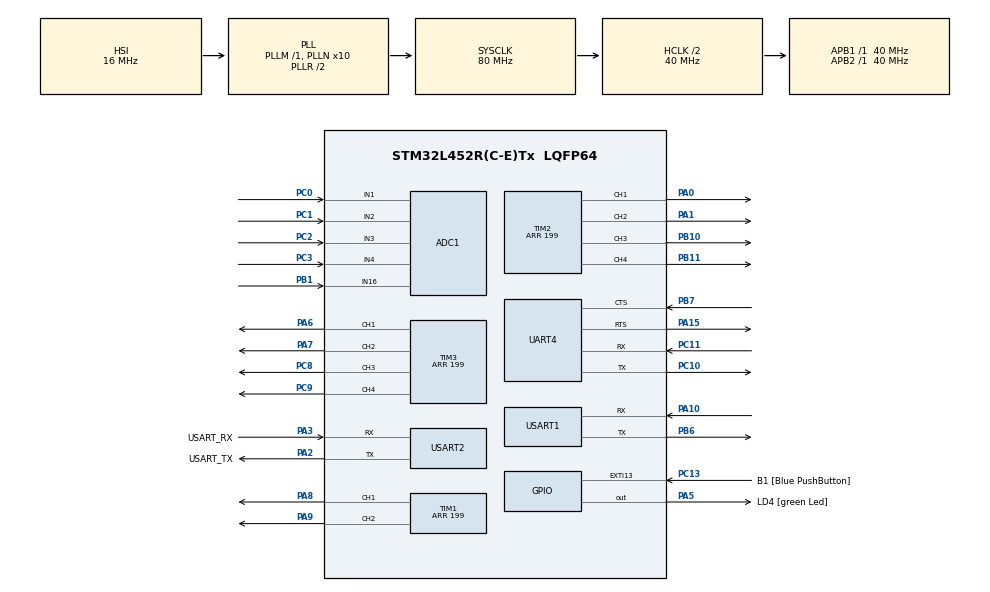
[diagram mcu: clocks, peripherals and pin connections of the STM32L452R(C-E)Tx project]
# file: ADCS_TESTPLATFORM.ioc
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ADC1.Channel-0\#ChannelRegularConversion=ADC_CHANNEL_1
ADC1.Channel-1\#ChannelRegularConversion=ADC_CHANNEL_1
ADC1.Channel-2\#ChannelRegularConversion=ADC_CHANNEL_1
ADC1.Channel-3\#ChannelRegularConversion=ADC_CHANNEL_1
ADC1.Channel-4\#ChannelRegularConversion=ADC_CHANNEL_1
ADC1.ClockPrescaler=ADC_CLOCK_ASYNC_DIV2
ADC1.ContinuousConvMode=ENABLE
ADC1.NbrOfConversion=5
ADC1.NbrOfConversionFlag=1
ADC1.OffsetNumber-0\#ChannelRegularConversion=ADC_OFFSET_NONE
ADC1.OffsetNumber-1\#ChannelRegularConversion=ADC_OFFSET_NONE
ADC1.OffsetNumber-2\#ChannelRegularConversion=ADC_OFFSET_NONE
ADC1.OffsetNumber-3\#ChannelRegularConversion=ADC_OFFSET_NONE
ADC1.OffsetNumber-4\#ChannelRegularConversion=ADC_OFFSET_NONE
ADC1.OversamplingMode=ENABLE
ADC1.Rank-0\#ChannelRegularConversion=1
ADC1.Rank-1\#ChannelRegularConversion=2
ADC1.Rank-2\#ChannelRegularConversion=3
ADC1.Rank-3\#ChannelRegularConversion=4
ADC1.Rank-4\#ChannelRegularConversion=5
ADC1.Ratio=ADC_OVERSAMPLING_RATIO_16
ADC1.RightBitShift=ADC_RIGHTBITSHIFT_4
ADC1.SamplingTime-0\#ChannelRegularConversion=ADC_SAMPLETIME_2CYCLES_5
ADC1.SamplingTime-1\#ChannelRegularConversion=ADC_SAMPLETIME_2CYCLES_5
ADC1.SamplingTime-2\#ChannelRegularConversion=ADC_SAMPLETIME_2CYCLES_5
ADC1.SamplingTime-3\#ChannelRegularConversion=ADC_SAMPLETIME_2CYCLES_5
ADC1.SamplingTime-4\#ChannelRegularConversion=ADC_SAMPLETIME_2CYCLES_5
ADC1.master=1
FREERTOS.BinarySemaphores01=IMURead_ControlMutex,Static,xIMURead_ControlMutexBuffer,Available
FREERTOS.Queues01=IMUQueue1,512,uint32_t,0,Static,IMUQueue1Buffer,IMUQueue1ControlBlock;IMUQueue2,512,uint32_t,0,Static,IMUQueue2Buffer,IMUQueue2ControlBlock;ADCSHouseKeepingQueue,512,uint32_t,0,Static,ADCSHouseKeepingQueueBuffer,ADCSHouseKeepingQueueControlBlock
FREERTOS.Tasks01=IMUTask,0,4096,IMU_Task,Default,NULL,Static,IMUTaskBuffer,IMUTaskControlBlock;OBC_CommTask,1,16384,OBC_Comm_Task,Default,NULL,Static,OBC_CommTaskBuffer,OBC_CommTaskControlBlock;ControlAlgorithmTask,0,4096,Control_Algorithm_Task,Default,NULL,Static,ControlAlgorithmTaskBuffer,ControlAlgorithmTaskControlBlock;FirstCheckTask,1,4096,Check_current_temp,Default,NULL,Static,FirstCheckTaskBuffer,FirstCheckTaskControlBlock
FREERTOS.configMAX_TASK_NAME_LEN=30
FREERTOS.configUSE_NEWLIB_REENTRANT=1
Mcu.Family=STM32L4
Mcu.Name=STM32L452R(C-E)Tx
Mcu.Package=LQFP64
NVIC.PriorityGroup=NVIC_PRIORITYGROUP_4
NVIC.TIM1_UP_TIM16_IRQn=true\:15\:0\:false\:false\:true\:false\:false\:true\:true
NVIC.TimeBase=TIM1_UP_TIM16_IRQn
NVIC.TimeBaseIP=TIM16
PA0.Signal=S_TIM2_CH1
PA1.Signal=S_TIM2_CH2
PA10.Mode=Asynchronous
PA10.Signal=USART1_RX
PA13\ (JTMS/SWDIO).GPIO_Label=TMS
PA13\ (JTMS/SWDIO).Mode=Serial_Wire
PA13\ (JTMS/SWDIO).Signal=SYS_JTMS-SWDIO
PA14\ (JTCK/SWCLK).GPIO_Label=TCK
PA14\ (JTCK/SWCLK).Mode=Serial_Wire
PA14\ (JTCK/SWCLK).Signal=SYS_JTCK-SWCLK
PA15\ (JTDI).Mode=CTS_RTS
PA15\ (JTDI).Signal=UART4_RTS
PA2.GPIO_Label=USART_TX
PA2.GPIO_Mode=GPIO_MODE_AF_PP
PA2.GPIO_PuPd=GPIO_NOPULL
PA2.GPIO_Speed=GPIO_SPEED_FREQ_VERY_HIGH
PA2.Mode=Asynchronous
PA2.Signal=USART2_TX
PA3.GPIO_Label=USART_RX
PA3.GPIO_Mode=GPIO_MODE_AF_PP
PA3.GPIO_PuPd=GPIO_NOPULL
PA3.GPIO_Speed=GPIO_SPEED_FREQ_VERY_HIGH
PA3.Mode=Asynchronous
PA3.Signal=USART2_RX
PA5.GPIO_Label=LD4 [green Led]
PA5.GPIO_ModeDefaultOutputPP=GPIO_MODE_OUTPUT_PP
PA5.GPIO_PuPd=GPIO_NOPULL
PA5.GPIO_Speed=GPIO_SPEED_FREQ_LOW
PA5.Signal=GPIO_Output
PA6.Signal=S_TIM3_CH1
PA7.Signal=S_TIM3_CH2
PA8.Signal=S_TIM1_CH1
PA9.Signal=S_TIM1_CH2
PB1.Signal=ADCx_IN16
PB10.Signal=S_TIM2_CH3
PB11.Signal=S_TIM2_CH4
PB3\ (JTDO/TRACESWO).GPIO_Label=SWO
PB3\ (JTDO/TRACESWO).Signal=SYS_JTDO-SWO
PB6.Mode=Asynchronous
PB6.Signal=USART1_TX
PB7.Mode=CTS_RTS
PB7.Signal=UART4_CTS
PC0.Signal=ADCx_IN1
PC1.Signal=ADCx_IN2
PC10.Mode=Asynchronous
PC10.Signal=UART4_TX
PC11.Mode=Asynchronous
PC11.Signal=UART4_RX
PC13.GPIO_Label=B1 [Blue PushButton]
PC13.GPIO_ModeDefaultEXTI=GPIO_MODE_IT_FALLING
PC13.GPIO_PuPd=GPIO_NOPULL
PC13.Signal=GPXTI13
PC14-OSC32_IN\ (PC14).Mode=LSE-External-Oscillator
PC14-OSC32_IN\ (PC14).Signal=RCC_OSC32_IN
PC15-OSC32_OUT\ (PC15).Mode=LSE-External-Oscillator
PC15-OSC32_OUT\ (PC15).Signal=RCC_OSC32_OUT
PC2.Signal=ADCx_IN3
PC3.Signal=ADCx_IN4
PC8.Signal=S_TIM3_CH3
PC9.Signal=S_TIM3_CH4
PH0-OSC_IN\ (PH0).Mode=HSE-External-Oscillator
PH0-OSC_IN\ (PH0).Signal=RCC_OSC_IN
PH1-OSC_OUT\ (PH1).Mode=HSE-External-Oscillator
PH1-OSC_OUT\ (PH1).Signal=RCC_OSC_OUT
ProjectManager.HeapSize=0x200
ProjectManager.StackSize=0x400
ProjectManager.TargetToolchain=STM32CubeIDE
RCC.ADCFreq_Value=64000000
RCC.AHBCLKDivider=RCC_SYSCLK_DIV2
RCC.AHBFreq_Value=40000000
RCC.APB1Freq_Value=40000000
RCC.APB1TimFreq_Value=40000000
RCC.APB2Freq_Value=40000000
RCC.APB2TimFreq_Value=40000000
RCC.CortexFreq_Value=40000000
RCC.HCLKFreq_Value=40000000
RCC.HSE_VALUE=8000000
RCC.HSI48_VALUE=48000000
RCC.HSI_VALUE=16000000
RCC.MSI_VALUE=4000000
RCC.PLLN=10
RCC.PLLSourceVirtual=RCC_PLLSOURCE_HSI
RCC.PREFETCH_ENABLE=1
RCC.SYSCLKFreq_VALUE=80000000
RCC.SYSCLKSource=RCC_SYSCLKSOURCE_PLLCLK
RCC.USBFreq_Value=64000000
RCC.VCOOutputFreq_Value=160000000
SH.ADCx_IN1.0=ADC1_IN1,IN1-Single-Ended
SH.ADCx_IN16.0=ADC1_IN16,IN16-Single-Ended
SH.ADCx_IN2.0=ADC1_IN2,IN2-Single-Ended
SH.ADCx_IN3.0=ADC1_IN3,IN3-Single-Ended
SH.ADCx_IN4.0=ADC1_IN4,IN4-Single-Ended
SH.S_TIM1_CH1.0=TIM1_CH1,PWM Generation1 CH1
SH.S_TIM1_CH2.0=TIM1_CH2,PWM Generation2 CH2
SH.S_TIM2_CH1.0=TIM2_CH1,PWM Generation1 CH1
SH.S_TIM2_CH2.0=TIM2_CH2,PWM Generation2 CH2
SH.S_TIM2_CH3.0=TIM2_CH3,PWM Generation3 CH3
SH.S_TIM2_CH4.0=TIM2_CH4,PWM Generation4 CH4
SH.S_TIM3_CH1.0=TIM3_CH1,PWM Generation1 CH1
SH.S_TIM3_CH2.0=TIM3_CH2,PWM Generation2 CH2
SH.S_TIM3_CH3.0=TIM3_CH3,PWM Generation3 CH3
SH.S_TIM3_CH4.0=TIM3_CH4,PWM Generation4 CH4
TIM1.Channel-PWM\ Generation1\ CH1=TIM_CHANNEL_1
TIM1.Channel-PWM\ Generation2\ CH2=TIM_CHANNEL_2
TIM1.Period=199
TIM2.Channel-PWM\ Generation1\ CH1=TIM_CHANNEL_1
TIM2.Channel-PWM\ Generation2\ CH2=TIM_CHANNEL_2
TIM2.Channel-PWM\ Generation3\ CH3=TIM_CHANNEL_3
TIM2.Channel-PWM\ Generation4\ CH4=TIM_CHANNEL_4
TIM2.Period=199
TIM3.Channel-PWM\ Generation1\ CH1=TIM_CHANNEL_1
TIM3.Channel-PWM\ Generation2\ CH2=TIM_CHANNEL_2
TIM3.Channel-PWM\ Generation3\ CH3=TIM_CHANNEL_3
TIM3.Channel-PWM\ Generation4\ CH4=TIM_CHANNEL_4
TIM3.Period=199
USART1.VirtualMode-Asynchronous=VM_ASYNC
USART2.VirtualMode-Asynchronous=VM_ASYNC
VP_FREERTOS_VS_CMSIS_V1.Mode=CMSIS_V1
VP_SYS_VS_tim16.Mode=TIM16
VP_TIM1_VS_ClockSourceINT.Mode=Internal
VP_TIM2_VS_ClockSourceINT.Mode=Internal
VP_TIM3_VS_ClockSourceINT.Mode=Internal
board=NUCLEO-L452RE

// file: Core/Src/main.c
/**
  ******************************************************************************
  * @file           : main.c
  * @brief          : AOCS Main Program Body
  ******************************************************************************
  * @attention
  *
  * Copyright (c) 2025 STMicroelectronics.
  * All rights reserved.
  *
  * This software is licensed under terms that can be found in the LICENSE file
  * in the root directory of this software component.
  * If no LICENSE file comes with this software, it is provided AS-IS.
  *
  ******************************************************************************
  */
/* USER CODE END Header */
#include "main.h"
#include "cmsis_os.h"

/* USER CODE BEGIN Includes */
#include "string.h"
#include "stdio.h"
#include "UARTdriver.h"               //setting on uart.c is added to hal_msp.c file
#include <math.h>
#include <stdbool.h>
#include "MTi1.h"
#include "messages.h"
#include "queue_structs.h"
#include "constants.h"
#include "simpleDataLink.h"
#include "pid_conversions.h"
#include "magnetorquers_driver.h"
#include "bdot.h"
/* USER CODE END Includes */

/* USER CODE BEGIN PTD */
PID_Inputs_struct PID_Inputs;
Actuator_struct Reaction1;
Actuator_struct Reaction2;
Actuator_struct MagneTorquer1;
Actuator_struct MagneTorquer2;
Actuator_struct MagneTorquer3;
uint8_t error_status = 0;
uint8_t Channels_mask[NUM_DRIVERS] = {1,1,1,1,1};       // TODO update to just 3 magnetorquers
/* USER CODE END PTD */

ADC_HandleTypeDef hadc1;

TIM_HandleTypeDef htim1;
TIM_HandleTypeDef htim2;
TIM_HandleTypeDef htim3;

UART_HandleTypeDef huart4;
UART_HandleTypeDef huart1;
UART_HandleTypeDef huart2;

/* TODO not used? */
// osThreadId IMUTaskHandle;
// uint32_t IMUTaskBuffer[ 4096 ];
// osStaticThreadDef_t IMUTaskControlBlock;
// osThreadId OBC_CommTaskHandle;
// uint32_t OBC_CommTaskBuffer[ 16384 ];
// osStaticThreadDef_t OBC_CommTaskControlBlock;
// osThreadId ControlAlgorithmTaskHandle;
// uint32_t ControlAlgorithmTaskBuffer[ 4096 ];
// osStaticThreadDef_t ControlAlgorithmTaskControlBlock;
// osThreadId FirstCheckTaskHandle;
// uint32_t FirstCheckTaskBuffer[ 4096 ];
// osStaticThreadDef_t FirstCheckTaskControlBlock;
// osMessageQId IMUQueue1Handle;
// uint8_t IMUQueue1Buffer[ 512 * sizeof( uint32_t ) ];
// osStaticMessageQDef_t IMUQueue1ControlBlock;
// osMessageQId IMUQueue2Handle;
// uint8_t IMUQueue2Buffer[ 512 * sizeof( uint32_t ) ];
// osStaticMessageQDef_t IMUQueue2ControlBlock;
// osMessageQId ADCSHouseKeepingQueueHandle;
// uint8_t ADCSHouseKeepingQueueBuffer[ 512 * sizeof( uint32_t ) ];
// osStaticMessageQDef_t ADCSHouseKeepingQueueControlBlock;
// osSemaphoreId IMURead_ControlMutexHandle;
// osStaticSemaphoreDef_t xIMURead_ControlMutexBuffer;
/* USER CODE BEGIN PV */

/* Defining Tasks related variables */
osThreadId IMUTaskHandle;
uint32_t IMUTaskBuffer[ stack_size];                    // 4096
osStaticThreadDef_t IMUTaskControlBlock;

osThreadId OBC_CommTaskHandle;
uint32_t OBC_CommTaskBuffer[ stack_size1 ];             // 16384
osStaticThreadDef_t OBC_CommTaskControlBlock;

osThreadId ControlAlgorithmTaskHandle;
uint32_t ControlAlgorithmTaskBuffer[ stack_size ];      // 4096
osStaticThreadDef_t ControlAlgorithmTaskControlBlock;

osThreadId FirstCheckTaskHandle;
uint32_t FirstCheckTaskBuffer[ stack_size ];            // 4096
osStaticThreadDef_t FirstCheckTaskControlBlock;

xSemaphoreHandle IMURead_ControlMutex;
StaticSemaphore_t xIMURead_ControlMutexBuffer;

osMessageQId ADCSHouseKeepingQueueHandle;
uint8_t ADCSHouseKeepingQueueBuffer[ 256 * sizeof( float ) ];
osStaticMessageQDef_t ADCSHouseKeepingQueueControlBlock;

osMessageQId IMUQueue2Handle;
uint8_t IMUQueue2Buffer[ 256 * sizeof( imu_queue_struct ) ];
osStaticMessageQDef_t IMUQueue2ControlBlock;

osMessageQId IMUQueue1Handle;
uint8_t IMUQueue1Buffer[ 256 * sizeof( imu_queue_struct ) ];
osStaticMessageQDef_t IMUQueue1ControlBlock;
/* USER CODE END PV */

void SystemClock_Config(void);
static void MX_GPIO_Init(void);
static void MX_USART2_UART_Init(void);
static void MX_UART4_Init(void);
static void MX_USART1_UART_Init(void);
static void MX_TIM1_Init(void);
static void MX_TIM2_Init(void);
static void MX_TIM3_Init(void);
static void MX_ADC1_Init(void);

/* Readings from IMU */
void IMU_Task(void const * argument);

/* Communication with OBC - by now simulated with py program */
void OBC_Comm_Task(void const * argument);

/* Attitude control logic */
void Control_Algorithm_Task(void const * argument);

/* Current & Temperature monitors  */
void Check_current_temp(void const * argument);

/* USER CODE BEGIN PFP */

//defining putch to enable printf for debugging
#ifdef __GNUC__
#define PUTCHAR_PROTOTYPE int __io_putchar(int ch)
#else
#define PUTCHAR_PROTOTYPE int fputc(int ch, FILE *f)
#endif

// PUTCHAR_PROTOTYPE{
//   HAL_UART_Transmit(&huart2, (uint8_t *)&ch, 1, HAL_MAX_DELAY);
//   return ch;
// }
PUTCHAR_PROTOTYPE{
	uint8_t c=(uint8_t)ch;
	sendDriver_UART(&huart2,&c,1);
	return c;
}

// TODO redefined?
void IMU_Task(void const * argument);
void OBC_Comm_Task(void const * argument);

//defining serial line I/O functions
//using UART driver
uint8_t txFunc1(uint8_t byte){
	return (sendDriver_UART(&huart1, &byte, 1)!=0);
}
uint8_t rxFunc1(uint8_t* byte){
	return (receiveDriver_UART(&huart1, byte, 1)!=0);
}

//defining tick function for timeouts
uint32_t sdlTimeTick(){
	return HAL_GetTick();
}

/* USER CODE END PFP */

int main(void)
{

  /* MCU Configuration--------------------------------------------------------*/

  /* Reset of all peripherals, Initializes the Flash interface and the Systick. */
  HAL_Init();

  /* Configure the system clock */
  SystemClock_Config();

  /* Initialize all configured peripherals */
  MX_GPIO_Init();
  MX_USART2_UART_Init();
  MX_UART4_Init();
  MX_USART1_UART_Init();
  MX_TIM1_Init();
  MX_TIM2_Init();
  MX_TIM3_Init();
  MX_ADC1_Init();
  /* USER CODE BEGIN 2 */

  initDriver_UART();
  // uint8_t status = addDriver_UART(&huart2, UART4_IRQn, keep_new);
  // if (status != 0) {
  //   char err[64];
  //   int len = snprintf(err, sizeof(err), "addDriver_UART failed: %d\r\n", status);
  //   HAL_UART_Transmit(&huart2, (uint8_t*)err, len, 100);
  // }

  /* USER CODE END 2 */

  /* USER CODE BEGIN RTOS_MUTEX */
  /* add mutexes, ... */
  IMURead_ControlMutex = xSemaphoreCreateMutexStatic(&xIMURead_ControlMutexBuffer);
	configASSERT(IMURead_ControlMutex);
	xSemaphoreGive(IMURead_ControlMutex);
  /* USER CODE END RTOS_MUTEX */

  /* Create the semaphores(s) */
  // /* definition and creation of IMURead_ControlMutex */
  // osSemaphoreStaticDef(IMURead_ControlMutex, &xIMURead_ControlMutexBuffer);
  // IMURead_ControlMutexHandle = osSemaphoreCreate(osSemaphore(IMURead_ControlMutex), 1);

  // /* Create the queue(s) */
  // /* definition and creation of IMUQueue1 */
  // osMessageQStaticDef(IMUQueue1, 512, uint32_t, IMUQueue1Buffer, &IMUQueue1ControlBlock);
  // IMUQueue1Handle = osMessageCreate(osMessageQ(IMUQueue1), NULL);

  // /* definition and creation of IMUQueue2 */
  // osMessageQStaticDef(IMUQueue2, 512, uint32_t, IMUQueue2Buffer, &IMUQueue2ControlBlock);
  // IMUQueue2Handle = osMessageCreate(osMessageQ(IMUQueue2), NULL);

  // /* definition and creation of ADCSHouseKeepingQueue */
  // osMessageQStaticDef(ADCSHouseKeepingQueue, 512, uint32_t, ADCSHouseKeepingQueueBuffer, &ADCSHouseKeepingQueueControlBlock);
  // ADCSHouseKeepingQueueHandle = osMessageCreate(osMessageQ(ADCSHouseKeepingQueue), NULL);

  /* USER CODE BEGIN RTOS_QUEUES */
  /* add queues, ... */
  /* definition and creation of IMUQueue1 */
	osMessageQStaticDef(IMUQueue1, 512, uint32_t,IMUQueue1Buffer, &IMUQueue1ControlBlock);
	IMUQueue1Handle = osMessageCreate(osMessageQ(IMUQueue1), NULL);
  /* definition and creation of IMUQueue2 */
	osMessageQStaticDef(IMUQueue2, 512, uint32_t, IMUQueue2Buffer, &IMUQueue2ControlBlock);
	IMUQueue2Handle = osMessageCreate(osMessageQ(IMUQueue2), NULL);
  /* definition and creation of ADCSHouseKeepingQueue */
	osMessageQStaticDef(ADCSHouseKeepingQueue, 512, uint32_t, ADCSHouseKeepingQueueBuffer, &ADCSHouseKeepingQueueControlBlock);
	ADCSHouseKeepingQueueHandle = osMessageCreate(osMessageQ(ADCSHouseKeepingQueue), NULL);
  /* definition and creation of FirstCheckTask */
  osThreadStaticDef(FirstCheckTask, Check_current_temp, osPriorityAboveNormal, 0, stack_size, FirstCheckTaskBuffer, &FirstCheckTaskControlBlock);
  FirstCheckTaskHandle = osThreadCreate(osThread(FirstCheckTask), NULL);
  /* definition and creation of IMUTask */
  osThreadStaticDef(IMUTask, IMU_Task, osPriorityNormal, 0,stack_size, IMUTaskBuffer, &IMUTaskControlBlock);
  IMUTaskHandle = osThreadCreate(osThread(IMUTask), NULL);
  /* definition and creation of OBC_CommTask */
  osThreadStaticDef(OBC_CommTask, OBC_Comm_Task, osPriorityAboveNormal, 0,stack_size1, OBC_CommTaskBuffer, &OBC_CommTaskControlBlock);
  OBC_CommTaskHandle = osThreadCreate(osThread(OBC_CommTask), NULL);
  /* definition and creation of ControlAlgorithmTask */
  osThreadStaticDef(ControlAlgorithmTask, Control_Algorithm_Task, osPriorityNormal, 0,stack_size, ControlAlgorithmTaskBuffer, &ControlAlgorithmTaskControlBlock);
	ControlAlgorithmTaskHandle = osThreadCreate(osThread(ControlAlgorithmTask), NULL);
  /* USER CODE END RTOS_QUEUES */

  /* Create the thread(s) */
  /* definition and creation of IMUTask */
  // osThreadStaticDef(IMUTask, IMU_Task, osPriorityNormal, 0, 4096, IMUTaskBuffer, &IMUTaskControlBlock);
  // IMUTaskHandle = osThreadCreate(osThread(IMUTask), NULL);

  // /* definition and creation of OBC_CommTask */
  // osThreadStaticDef(OBC_CommTask, OBC_Comm_Task, osPriorityAboveNormal, 0, 16384, OBC_CommTaskBuffer, &OBC_CommTaskControlBlock);
  // OBC_CommTaskHandle = osThreadCreate(osThread(OBC_CommTask), NULL);

  // /* definition and creation of ControlAlgorithmTask */
  // osThreadStaticDef(ControlAlgorithmTask, Control_Algorithm_Task, osPriorityNormal, 0, 4096, ControlAlgorithmTaskBuffer, &ControlAlgorithmTaskControlBlock);
  // ControlAlgorithmTaskHandle = osThreadCreate(osThread(ControlAlgorithmTask), NULL);

  // /* definition and creation of FirstCheckTask */
  // osThreadStaticDef(FirstCheckTask, Check_current_temp, osPriorityAboveNormal, 0, 4096, FirstCheckTaskBuffer, &FirstCheckTaskControlBlock);
  // FirstCheckTaskHandle = osThreadCreate(osThread(FirstCheckTask), NULL);

  /* Start scheduler */
  osKernelStart();

  /* We should never get here as control is now taken by the scheduler */

  /* Infinite loop */
  while (1)
  {

  }
}

void SystemClock_Config(void)
{
  RCC_OscInitTypeDef RCC_OscInitStruct = {0};
  RCC_ClkInitTypeDef RCC_ClkInitStruct = {0};

  /** Configure the main internal regulator output voltage
  */
  if (HAL_PWREx_ControlVoltageScaling(PWR_REGULATOR_VOLTAGE_SCALE1) != HAL_OK)
  {
    Error_Handler();
  }

  /** Initializes the RCC Oscillators according to the specified parameters
  * in the RCC_OscInitTypeDef structure.
  */
  RCC_OscInitStruct.OscillatorType = RCC_OSCILLATORTYPE_HSI;
  RCC_OscInitStruct.HSIState = RCC_HSI_ON;
  RCC_OscInitStruct.HSICalibrationValue = 64;
  RCC_OscInitStruct.PLL.PLLState = RCC_PLL_ON;
  RCC_OscInitStruct.PLL.PLLSource = RCC_PLLSOURCE_HSI;
  RCC_OscInitStruct.PLL.PLLM = 1;
  RCC_OscInitStruct.PLL.PLLN = 10;
  RCC_OscInitStruct.PLL.PLLP = RCC_PLLP_DIV7;
  RCC_OscInitStruct.PLL.PLLQ = RCC_PLLQ_DIV2;
  RCC_OscInitStruct.PLL.PLLR = RCC_PLLR_DIV2;
  if (HAL_RCC_OscConfig(&RCC_OscInitStruct) != HAL_OK)
  {
    Error_Handler();
  }

  /** Initializes the CPU, AHB and APB buses clocks
  */
  RCC_ClkInitStruct.ClockType = RCC_CLOCKTYPE_HCLK|RCC_CLOCKTYPE_SYSCLK
                              |RCC_CLOCKTYPE_PCLK1|RCC_CLOCKTYPE_PCLK2;
  RCC_ClkInitStruct.SYSCLKSource = RCC_SYSCLKSOURCE_PLLCLK;
  RCC_ClkInitStruct.AHBCLKDivider = RCC_SYSCLK_DIV2;
  RCC_ClkInitStruct.APB1CLKDivider = RCC_HCLK_DIV1;
  RCC_ClkInitStruct.APB2CLKDivider = RCC_HCLK_DIV1;

  if (HAL_RCC_ClockConfig(&RCC_ClkInitStruct, FLASH_LATENCY_2) != HAL_OK)
  {
    Error_Handler();
  }
}

static void MX_ADC1_Init(void)
{

  ADC_ChannelConfTypeDef sConfig = {0};

  /** Common config
  */
  hadc1.Instance = ADC1;
  hadc1.Init.ClockPrescaler = ADC_CLOCK_ASYNC_DIV2;
  hadc1.Init.Resolution = ADC_RESOLUTION_12B;
  hadc1.Init.DataAlign = ADC_DATAALIGN_RIGHT;
  hadc1.Init.ScanConvMode = ADC_SCAN_ENABLE;
  hadc1.Init.EOCSelection = ADC_EOC_SINGLE_CONV;
  hadc1.Init.LowPowerAutoWait = DISABLE;
  hadc1.Init.ContinuousConvMode = ENABLE;
  hadc1.Init.NbrOfConversion = 5;
  hadc1.Init.DiscontinuousConvMode = DISABLE;
  hadc1.Init.ExternalTrigConv = ADC_SOFTWARE_START;
  hadc1.Init.ExternalTrigConvEdge = ADC_EXTERNALTRIGCONVEDGE_NONE;
  hadc1.Init.DMAContinuousRequests = DISABLE;
  hadc1.Init.Overrun = ADC_OVR_DATA_PRESERVED;
  hadc1.Init.OversamplingMode = ENABLE;
  hadc1.Init.Oversampling.Ratio = ADC_OVERSAMPLING_RATIO_16;
  hadc1.Init.Oversampling.RightBitShift = ADC_RIGHTBITSHIFT_4;
  hadc1.Init.Oversampling.TriggeredMode = ADC_TRIGGEREDMODE_SINGLE_TRIGGER;
  hadc1.Init.Oversampling.OversamplingStopReset = ADC_REGOVERSAMPLING_CONTINUED_MODE;
  if (HAL_ADC_Init(&hadc1) != HAL_OK)
  {
    Error_Handler();
  }

  /** Configure Regular Channel
  */
  sConfig.Channel = ADC_CHANNEL_1;
  sConfig.Rank = ADC_REGULAR_RANK_1;
  sConfig.SamplingTime = ADC_SAMPLETIME_2CYCLES_5;
  sConfig.SingleDiff = ADC_SINGLE_ENDED;
  sConfig.OffsetNumber = ADC_OFFSET_NONE;
  sConfig.Offset = 0;
  if (HAL_ADC_ConfigChannel(&hadc1, &sConfig) != HAL_OK)
  {
    Error_Handler();
  }

  /** Configure Regular Channel
  */
  sConfig.Rank = ADC_REGULAR_RANK_2;
  if (HAL_ADC_ConfigChannel(&hadc1, &sConfig) != HAL_OK)
  {
    Error_Handler();
  }

  /** Configure Regular Channel
  */
  sConfig.Rank = ADC_REGULAR_RANK_3;
  if (HAL_ADC_ConfigChannel(&hadc1, &sConfig) != HAL_OK)
  {
    Error_Handler();
  }

  /** Configure Regular Channel
  */
  sConfig.Rank = ADC_REGULAR_RANK_4;
  if (HAL_ADC_ConfigChannel(&hadc1, &sConfig) != HAL_OK)
  {
    Error_Handler();
  }

  /** Configure Regular Channel
  */
  sConfig.Rank = ADC_REGULAR_RANK_5;
  if (HAL_ADC_ConfigChannel(&hadc1, &sConfig) != HAL_OK)
  {
    Error_Handler();
  }

}

/* Timers (TIM 1-3) initialization for magnetorquers actuation */

static void MX_TIM1_Init(void)
{

  TIM_ClockConfigTypeDef sClockSourceConfig = {0};
  TIM_MasterConfigTypeDef sMasterConfig = {0};
  TIM_OC_InitTypeDef sConfigOC = {0};
  TIM_BreakDeadTimeConfigTypeDef sBreakDeadTimeConfig = {0};

  htim1.Instance = TIM1;
  htim1.Init.Prescaler = 0;
  htim1.Init.CounterMode = TIM_COUNTERMODE_UP;
  htim1.Init.Period = 199;
  htim1.Init.ClockDivision = TIM_CLOCKDIVISION_DIV1;
  htim1.Init.RepetitionCounter = 0;
  htim1.Init.AutoReloadPreload = TIM_AUTORELOAD_PRELOAD_DISABLE;
  if (HAL_TIM_Base_Init(&htim1) != HAL_OK)
  {
    Error_Handler();
  }
  sClockSourceConfig.ClockSource = TIM_CLOCKSOURCE_INTERNAL;
  if (HAL_TIM_ConfigClockSource(&htim1, &sClockSourceConfig) != HAL_OK)
  {
    Error_Handler();
  }
  if (HAL_TIM_PWM_Init(&htim1) != HAL_OK)
  {
    Error_Handler();
  }
  sMasterConfig.MasterOutputTrigger = TIM_TRGO_RESET;
  sMasterConfig.MasterOutputTrigger2 = TIM_TRGO2_RESET;
  sMasterConfig.MasterSlaveMode = TIM_MASTERSLAVEMODE_DISABLE;
  if (HAL_TIMEx_MasterConfigSynchronization(&htim1, &sMasterConfig) != HAL_OK)
  {
    Error_Handler();
  }
  sConfigOC.OCMode = TIM_OCMODE_PWM1;
  sConfigOC.Pulse = 0;
  sConfigOC.OCPolarity = TIM_OCPOLARITY_HIGH;
  sConfigOC.OCNPolarity = TIM_OCNPOLARITY_HIGH;
  sConfigOC.OCFastMode = TIM_OCFAST_DISABLE;
  sConfigOC.OCIdleState = TIM_OCIDLESTATE_RESET;
  sConfigOC.OCNIdleState = TIM_OCNIDLESTATE_RESET;
  if (HAL_TIM_PWM_ConfigChannel(&htim1, &sConfigOC, TIM_CHANNEL_1) != HAL_OK)
  {
    Error_Handler();
  }
  if (HAL_TIM_PWM_ConfigChannel(&htim1, &sConfigOC, TIM_CHANNEL_2) != HAL_OK)
  {
    Error_Handler();
  }
  sBreakDeadTimeConfig.OffStateRunMode = TIM_OSSR_DISABLE;
  sBreakDeadTimeConfig.OffStateIDLEMode = TIM_OSSI_DISABLE;
  sBreakDeadTimeConfig.LockLevel = TIM_LOCKLEVEL_OFF;
  sBreakDeadTimeConfig.DeadTime = 0;
  sBreakDeadTimeConfig.BreakState = TIM_BREAK_DISABLE;
  sBreakDeadTimeConfig.BreakPolarity = TIM_BREAKPOLARITY_HIGH;
  sBreakDeadTimeConfig.BreakFilter = 0;
  sBreakDeadTimeConfig.Break2State = TIM_BREAK2_DISABLE;
  sBreakDeadTimeConfig.Break2Polarity = TIM_BREAK2POLARITY_HIGH;
  sBreakDeadTimeConfig.Break2Filter = 0;
  sBreakDeadTimeConfig.AutomaticOutput = TIM_AUTOMATICOUTPUT_DISABLE;
  if (HAL_TIMEx_ConfigBreakDeadTime(&htim1, &sBreakDeadTimeConfig) != HAL_OK)
  {
    Error_Handler();
  }
  HAL_TIM_MspPostInit(&htim1);

}

static void MX_TIM2_Init(void)
{

  TIM_ClockConfigTypeDef sClockSourceConfig = {0};
  TIM_MasterConfigTypeDef sMasterConfig = {0};
  TIM_OC_InitTypeDef sConfigOC = {0};

  htim2.Instance = TIM2;
  htim2.Init.Prescaler = 0;
  htim2.Init.CounterMode = TIM_COUNTERMODE_UP;
  htim2.Init.Period = 199;
  htim2.Init.ClockDivision = TIM_CLOCKDIVISION_DIV1;
  htim2.Init.AutoReloadPreload = TIM_AUTORELOAD_PRELOAD_DISABLE;
  if (HAL_TIM_Base_Init(&htim2) != HAL_OK)
  {
    Error_Handler();
  }
  sClockSourceConfig.ClockSource = TIM_CLOCKSOURCE_INTERNAL;
  if (HAL_TIM_ConfigClockSource(&htim2, &sClockSourceConfig) != HAL_OK)
  {
    Error_Handler();
  }
  if (HAL_TIM_PWM_Init(&htim2) != HAL_OK)
  {
    Error_Handler();
  }
  sMasterConfig.MasterOutputTrigger = TIM_TRGO_RESET;
  sMasterConfig.MasterSlaveMode = TIM_MASTERSLAVEMODE_DISABLE;
  if (HAL_TIMEx_MasterConfigSynchronization(&htim2, &sMasterConfig) != HAL_OK)
  {
    Error_Handler();
  }
  sConfigOC.OCMode = TIM_OCMODE_PWM1;
  sConfigOC.Pulse = 0;
  sConfigOC.OCPolarity = TIM_OCPOLARITY_HIGH;
  sConfigOC.OCFastMode = TIM_OCFAST_DISABLE;
  if (HAL_TIM_PWM_ConfigChannel(&htim2, &sConfigOC, TIM_CHANNEL_1) != HAL_OK)
  {
    Error_Handler();
  }
  if (HAL_TIM_PWM_ConfigChannel(&htim2, &sConfigOC, TIM_CHANNEL_2) != HAL_OK)
  {
    Error_Handler();
  }
  if (HAL_TIM_PWM_ConfigChannel(&htim2, &sConfigOC, TIM_CHANNEL_3) != HAL_OK)
  {
    Error_Handler();
  }
  if (HAL_TIM_PWM_ConfigChannel(&htim2, &sConfigOC, TIM_CHANNEL_4) != HAL_OK)
  {
    Error_Handler();
  }
  HAL_TIM_MspPostInit(&htim2);

}

static void MX_TIM3_Init(void)
{

  TIM_ClockConfigTypeDef sClockSourceConfig = {0};
  TIM_MasterConfigTypeDef sMasterConfig = {0};
  TIM_OC_InitTypeDef sConfigOC = {0};

  htim3.Instance = TIM3;
  htim3.Init.Prescaler = 0;
  htim3.Init.CounterMode = TIM_COUNTERMODE_UP;
  htim3.Init.Period = 199;
  htim3.Init.ClockDivision = TIM_CLOCKDIVISION_DIV1;
  htim3.Init.AutoReloadPreload = TIM_AUTORELOAD_PRELOAD_DISABLE;
  if (HAL_TIM_Base_Init(&htim3) != HAL_OK)
  {
    Error_Handler();
  }
  sClockSourceConfig.ClockSource = TIM_CLOCKSOURCE_INTERNAL;
  if (HAL_TIM_ConfigClockSource(&htim3, &sClockSourceConfig) != HAL_OK)
  {
    Error_Handler();
  }
  if (HAL_TIM_PWM_Init(&htim3) != HAL_OK)
  {
    Error_Handler();
  }
  sMasterConfig.MasterOutputTrigger = TIM_TRGO_RESET;
  sMasterConfig.MasterSlaveMode = TIM_MASTERSLAVEMODE_DISABLE;
  if (HAL_TIMEx_MasterConfigSynchronization(&htim3, &sMasterConfig) != HAL_OK)
  {
    Error_Handler();
  }
  sConfigOC.OCMode = TIM_OCMODE_PWM1;
  sConfigOC.Pulse = 0;
  sConfigOC.OCPolarity = TIM_OCPOLARITY_HIGH;
  sConfigOC.OCFastMode = TIM_OCFAST_DISABLE;
  if (HAL_TIM_PWM_ConfigChannel(&htim3, &sConfigOC, TIM_CHANNEL_1) != HAL_OK)
  {
    Error_Handler();
  }
  if (HAL_TIM_PWM_ConfigChannel(&htim3, &sConfigOC, TIM_CHANNEL_2) != HAL_OK)
  {
    Error_Handler();
  }
  if (HAL_TIM_PWM_ConfigChannel(&htim3, &sConfigOC, TIM_CHANNEL_3) != HAL_OK)
  {
    Error_Handler();
  }
  if (HAL_TIM_PWM_ConfigChannel(&htim3, &sConfigOC, TIM_CHANNEL_4) != HAL_OK)
  {
    Error_Handler();
  }
  HAL_TIM_MspPostInit(&htim3);

}

static void MX_UART4_Init(void)
{

  huart4.Instance = UART4;
  huart4.Init.BaudRate = 115200;
  huart4.Init.WordLength = UART_WORDLENGTH_8B;
  huart4.Init.StopBits = UART_STOPBITS_1;
  huart4.Init.Parity = UART_PARITY_NONE;
  huart4.Init.Mode = UART_MODE_TX_RX;
  huart4.Init.HwFlowCtl = UART_HWCONTROL_RTS_CTS;
  huart4.Init.OverSampling = UART_OVERSAMPLING_16;
  huart4.Init.OneBitSampling = UART_ONE_BIT_SAMPLE_DISABLE;
  huart4.AdvancedInit.AdvFeatureInit = UART_ADVFEATURE_NO_INIT;
  if (HAL_UART_Init(&huart4) != HAL_OK)
  {
    Error_Handler();
  }

}

static void MX_USART1_UART_Init(void)
{

  huart1.Instance = USART1;
  huart1.Init.BaudRate = 115200;
  huart1.Init.WordLength = UART_WORDLENGTH_8B;
  huart1.Init.StopBits = UART_STOPBITS_1;
  huart1.Init.Parity = UART_PARITY_NONE;
  huart1.Init.Mode = UART_MODE_TX_RX;
  huart1.Init.HwFlowCtl = UART_HWCONTROL_NONE;
  huart1.Init.OverSampling = UART_OVERSAMPLING_16;
  huart1.Init.OneBitSampling = UART_ONE_BIT_SAMPLE_DISABLE;
  huart1.AdvancedInit.AdvFeatureInit = UART_ADVFEATURE_NO_INIT;
  if (HAL_UART_Init(&huart1) != HAL_OK)
  {
    Error_Handler();
  }

}

static void MX_USART2_UART_Init(void)
{

  huart2.Instance = USART2;
  huart2.Init.BaudRate = 115200;
  huart2.Init.WordLength = UART_WORDLENGTH_8B;
  huart2.Init.StopBits = UART_STOPBITS_1;
  huart2.Init.Parity = UART_PARITY_NONE;
  huart2.Init.Mode = UART_MODE_TX_RX;
  huart2.Init.HwFlowCtl = UART_HWCONTROL_NONE;
  huart2.Init.OverSampling = UART_OVERSAMPLING_16;
  huart2.Init.OneBitSampling = UART_ONE_BIT_SAMPLE_DISABLE;
  huart2.AdvancedInit.AdvFeatureInit = UART_ADVFEATURE_NO_INIT;
  if (HAL_UART_Init(&huart2) != HAL_OK)
  {
    Error_Handler();
  }

}

static void MX_GPIO_Init(void)
{
  GPIO_InitTypeDef GPIO_InitStruct = {0};

  /* GPIO Ports Clock Enable */
  __HAL_RCC_GPIOC_CLK_ENABLE();
  __HAL_RCC_GPIOH_CLK_ENABLE();
  __HAL_RCC_GPIOA_CLK_ENABLE();
  __HAL_RCC_GPIOB_CLK_ENABLE();

  /*Configure GPIO pin Output Level */
  HAL_GPIO_WritePin(LD4_GPIO_Port, LD4_Pin, GPIO_PIN_RESET);

  /*Configure GPIO pin : B1_Pin */
  GPIO_InitStruct.Pin = B1_Pin;
  GPIO_InitStruct.Mode = GPIO_MODE_IT_FALLING;
  GPIO_InitStruct.Pull = GPIO_NOPULL;
  HAL_GPIO_Init(B1_GPIO_Port, &GPIO_InitStruct);

  /*Configure GPIO pin : LD4_Pin */
  GPIO_InitStruct.Pin = LD4_Pin;
  GPIO_InitStruct.Mode = GPIO_MODE_OUTPUT_PP;
  GPIO_InitStruct.Pull = GPIO_NOPULL;
  GPIO_InitStruct.Speed = GPIO_SPEED_FREQ_LOW;
  HAL_GPIO_Init(LD4_GPIO_Port, &GPIO_InitStruct);

}

void IMU_Task(void const * argument)
{
  /* USER CODE BEGIN 5 */
  // huart4.gState = HAL_UART_STATE_READY;
  // huart4.RxState = HAL_UART_STATE_READY;
  // making sure that UART driver is initialized and UARTs are added after freertos started
  //initDriver_UART();
	//UART2 = for printf
  uint8_t status = addDriver_UART(&huart2, USART2_IRQn, keep_new);
  // if (status == 0) {
  //   char msg[] = "USART2 Driver initialized OK\r\n";
  //   HAL_UART_Transmit(&huart2, (uint8_t*)msg, strlen(msg), 100);
  // } else {
  //   char msg[] = "USART2 Driver FAILED\r\n";
  //   HAL_UART_Transmit(&huart2, (uint8_t*)msg, strlen(msg), 100);
  // }

	// // UART4 = for IMU
  uint8_t status2 = addDriver_UART(&huart4, UART4_IRQn, keep_new);
  // if (status2 == 0) {
  //   char msg[] = "UART4 Driver initialized OK\r\n";
  //   HAL_UART_Transmit(&huart2, (uint8_t*)msg, strlen(msg), 100);
  // } else {
  //   char msg[] = "UART4 Driver FAILED\r\n";
  //   HAL_UART_Transmit(&huart2, (uint8_t*)msg, strlen(msg), 100);
  // }

  // osDelay(1000); //when in doubt add a delay

  #if ( DEBUG_MSGS == 1 )
	  printf("Initializing IMU \r\n");
  #endif
    //uint8_t ret = 1;
    uint8_t ret = initIMUConfig(&huart4);
  #if ( DEBUG_MSGS == 1 )
    if(ret) printf("IMU correctly configured \r\n");
    else printf("Error configuring IMU \r\n");
  #endif

	float gyro[3]={1,2,3};
	float mag[3]={4,5,6};
	float acc[3] = {7,8,9};
  float m_con[3] = {0,0,0},  k = 50.0f;

	imu_queue_struct *local_imu_struct =(imu_queue_struct*) malloc(sizeof(imu_queue_struct));

	for(;;)
	{

    /* There is not need to set nor reset the CTS and RTS of UART4 for IMU because the functions
    * UART_Transmit and UART_Receive automatically manage this if on the other side the device has enabled these two lines for UART
    * If I want to make IMU and Nucleo communicate with only the 2 UART tx and Rx lines I just have to disable the hardware flow control
    * from CubeMx.
    */

		ret=readIMUPacket(&huart4, gyro, mag, acc, 500); //mag measured in Gauss(G) unit -> 1G = 10^-4 Tesla
		mag[0]/=10000; //1G = 10^-4 Tesla
		mag[1]/=10000; //1G = 10^-4 Tesla
		mag[2]/=10000; //1G = 10^-4 Tesla
		if (xSemaphoreTake(IMURead_ControlMutex, (TickType_t)10) == pdTRUE)//If reading IMU DO NOT CONTROL
		{
			// printf("IMU Task : Taken IMURead_Control control\r\n");
			ret=readIMUPacket(&huart4, gyro, mag, acc, 500);
			xSemaphoreGive(IMURead_ControlMutex);
			// printf("IMU Task : Released IMURead_Control control\r\n");
		}
    // printf("IMU status %d \r\n",ret);
		if(ret)
		{
			/*for(uint32_t field=0; field<3;field++){
					printf("%f \t",gyro[field]);
			}
			printf("\nMagnetometer: ");
			for(uint32_t field=0; field<3;field++){
				printf("%f \t",mag[field]);
			}
			printf("\n");*/
			if (local_imu_struct == NULL) {
				#if (DEBUG_MSGS == 1)
          printf("IMU Task: Memory allocation for IMU struct failed \r\n");
        #endif
			}
			else
			{
				//Fill the struct with values read from IMU, then send them to Control Task
				for (int i = 0; i < 3; i++)
				{
					local_imu_struct->gyro_msr[i] = gyro[i];
					local_imu_struct->mag_msr[i] = mag[i];
					local_imu_struct->acc_msr[i] = acc[i];
					// printf("Accelerometer axis %d, value %f \r\n", i, acc[i]);
					// printf("Gyroscope axis %d, value %f \r\n", i, gyro[i]);
					// printf("Magnetometer axis %d, value %f \r\n", i, mag[i]);
				}

        /* BDOT IMPLEMENTATION HERE */
        // compute_mcon(mag, gyro, k, m_con);
        // printf("Dipole Moment: %f %f %f \r\n", m_con[0], m_con[1], m_con[2]);
        // T = m x B
        /* BDOT FINISHED */
				// Invio queue a Control Task ****
			 	if (osMessagePut(IMUQueue1Handle,(uint32_t)local_imu_struct,300) != osOK) {
			    	//printf("Invio a Control Task fallito \r\n");
			       	free(local_imu_struct); // Ensure the receiving task has time to process
				} else {
			        // printf("Dati Inviati a Control Task \r\n");

			 	}

        // Testing the timeout**
        // if (osMessagePut(IMUQueue1Handle,(uint32_t)local_imu_struct,300) != osOK) {
			  //   	//printf("Invio a Control Task fallito \r\n");
			  //      	// free(local_imu_struct); // Ensure the receiving task has time to process
				// } else {
			  //       // printf("Dati Inviati a Control Task \r\n");

			 	// }
			 	//Invio queue a OBC Task
			 	if (osMessagePut(IMUQueue2Handle,(uint32_t)local_imu_struct,300) != osOK) {
			    	//printf("Invio a OBC Task fallito \r\n");
			       	free(local_imu_struct); // Ensure the receiving task has time to process
			 	} else {
			    	//printf("Dati a Control Inviati \r\n");
				}
			}
		}
		else{
			//printf("IMU: Error configuring IMU \r\n");
			osDelay(2000);
		}
    // printf("Hello from STM32L4\r\n");
    osDelay(100);
  }
  /* USER CODE END 5 */
}

void OBC_Comm_Task(void const * argument)
{
  /* USER CODE BEGIN OBC_Comm_Task */
    //initDriver_UART();
  //UART1 = for OBC communication
  // /*uint8_t status = */addDriver_UART(&huart4, UART4_IRQn, keep_new);
  //addDriver_UART(&huart1,USART1_IRQn,keep_old);
  /*uint8_t status2 = */addDriver_UART(&huart1, USART1_IRQn, keep_old);
  // if (status2 == 0) {
  //   char msg[] = "UART1 Driver initialized OK\r\n";
  //   HAL_UART_Transmit(&huart2, (uint8_t*)msg, strlen(msg), 100);
  // } else {
  //   char msg[] = "UART1 Driver FAILED\r\n";
  //   HAL_UART_Transmit(&huart2, (uint8_t*)msg, strlen(msg), 100);
  // }
  static serial_line_handle line1;

  // uint8_t fuck=0x67;
  // uint8_t status4 = txFunc1(fuck);

  // char msg[32];
  // int len = snprintf(msg, sizeof(msg), "txFunc1 returned: %u\r\n", status4);
  // HAL_UART_Transmit(&huart2, (uint8_t*)msg, len, 100);

  // if (status4 == 1)  {  // expect 1 byte sent
  //   char ok[] = "tx OK (1 byte)\r\n";
  //   HAL_UART_Transmit(&huart2, (uint8_t*)ok, strlen(ok), 100);
  // } else {
  //   char fail[] = "tx FAILED (0 bytes)\r\n";
  //   HAL_UART_Transmit(&huart2, (uint8_t*)fail, strlen(fail), 100);
  // }
  // vTaskDelay(pdMS_TO_TICKS(1000));

  //Inizialize Serial Line for UART1
  sdlInitLine(&line1,&txFunc1,&rxFunc1,50,2);
	uint8_t opmode=0;
	uint32_t rxLen;

	setAttitudeADCS *RxAttitude = (setAttitudeADCS*) malloc(sizeof(setAttitudeADCS));
	housekeepingADCS TxHousekeeping;
	attitudeADCS TxAttitude;
	setOpmodeADCS RxOpMode;
	opmodeADCS TxOpMode;
	osEvent retvalue1,retvalue;
	uint8_t cnt1 = 0,cnt2 = 0;
	char rxBuff[SDL_MAX_PAY_LEN];
    /* Infinite loop */
  for(;;)
  {

	 /*-------------------SEND TO OBC-------------------------*/
	//sampling
	  /* in theory here we should sample values and fill telemetry structures
	  telemetryStruct.temp1=...;
	  telemetryStruct.speed=...;
	  .....*/

	 //Receive HouseKeeping sensor values via Queue
	retvalue = osMessageGet(ADCSHouseKeepingQueueHandle,300);

	// //printf("OBC Task: Tick_Time: %lu \r\n",HAL_GetTick());

	if (retvalue.status == osEventMessage)
	// {
		processCombinedData((void*)&retvalue,(void *)&TxHousekeeping,receive_Current_Tempqueue_OBC);
		//attitude sampling
	// 	//in this case we just send the local copy of the structure
	// 	//ALWAYS remember to set message code (use the generated defines

	// 	//printf("OBC: Trying to send attitude \r\n");
	// 	//finally we send the message
			TxHousekeeping.code=HOUSEKEEPINGADCS_CODE;
			TxHousekeeping.ticktime=HAL_GetTick();
			//printf("OBC: Trying to send housekeeping \r\n");
			//finally we send the message
      /*
			if(sdlSend(&line1,(uint8_t *)&TxHousekeeping,sizeof(housekeepingADCS),0)){
        // printf("sucess send temp current %lu \r\n",HAL_GetTick());
      }*/

	// }

	//Receive Telemetry IMU via Queue
	retvalue1 = osMessageGet(IMUQueue2Handle, 300);

	if (retvalue1.status == osEventMessage)
	{
		processCombinedData((void*)&retvalue1,(void *)&TxAttitude,receive_IMUqueue_OBC);
		//in this case we just fill the structure with random values
		//ALWAYS remember to set message code (use the generated defines
			TxAttitude.code=ATTITUDEADCS_CODE;
			TxAttitude.ticktime=HAL_GetTick();
    // printf("OBC TASK:i am alive %lu \r\n",HAL_GetTick());
    // uint8_t sendStatus = sdlSend(&line1,(uint8_t *)&TxAttitude,sizeof(attitudeADCS),0);
    // printf("OBC TASK: sdlSend status: 0x%02X at %lu \r\n", sendStatus, HAL_GetTick());
		/*if(sdlSend(&line1,(uint8_t *)&TxAttitude,sizeof(attitudeADCS),0)){
      // printf("success send ADCS packet %lu \r\n",HAL_GetTick());
    }*/

	}

	opmodeADCS opmodeMsg;
	opmodeMsg.opmode=opmode;
	//ALWAYS remember to set message code (use the generated defines
	opmodeMsg.code=OPMODEADCS_CODE;
	//finally we send the message (WITH ACK REQUESTED)
	// printf("OBC: Trying to send opmodeADCS \r\n");
	/*if(sdlSend(&line1,(uint8_t *)&opmodeMsg,sizeof(opmodeADCS),1)){
    // printf("OBC: success to send opmodeADCS \r\n");
  }*/

  	osDelay(2000);
  }
  /* USER CODE END OBC_Comm_Task */
}

void Control_Algorithm_Task(void const * argument)
{
	/* USER CODE BEGIN Control_Algorithm_Task */
	uint8_t flag = 0;
		osEvent retvalue,retvalue1;
	uint32_t start_time;
	uint8_t count = 0;

	float gyro[3]={1,2,3};
	float mag[3]={4,5,6};
	float acc[3] = {7,8,9};
	float m_con[3] = {0,0,0};

  //tune bdot gain instead of tuning the physical values
	//float k = 50.0f; // BDOT gain
  //tunning
  float k = 30.0f; // BDOT gain tunning
	float duty_cycle[3] = {0,0,0};
	uint8_t direction[3] = {0,0,0};

	// Original ones:
	const float coil_turn[3] = {300.0f, 300.0f, 210.0f}; //number of turns of the

	// Test tweaked values:
	//const float coil_turn[3] = {600.0f, 600.0f, 600.0f}; //number of turns of the

	const float coil_area[3] = {0.007225f, 0.007225f, 0.007225f}; //coil area in m^2
	const float re_coil[3] = {30.7f, 30.7f, 23.0f}; //coil resistance in ohm
	const float VDD_coil[3] = {12.0f, 12.0f, 12.0f}; //coil supply voltage
	Actuator_struct* coils[3] = {&Reaction1,&Reaction2,&MagneTorquer1}; //coil
	static uint8_t active[3] = {0,0,0};

  imu_queue_struct *local_imu_struct1 =(imu_queue_struct*) malloc(sizeof(imu_queue_struct));
  //Inizialize actuators struct
  init_actuator_handler(&Reaction1,&htim1,TIM_CHANNEL_1,TIM_CHANNEL_2,100000,50); //100 khz
  init_actuator_handler(&Reaction2,&htim2,TIM_CHANNEL_3,TIM_CHANNEL_4,20000,50);

  init_actuator_handler(
    &MagneTorquer1,       // Magnetorquer struct
    &htim3,               // Timer handler
    TIM_CHANNEL_1,        // Timer channels
    TIM_CHANNEL_2,
    89000,                // PWM Frequency
    50                    // Initial duty cycle
  ); //89 khz //this measured 10khz, idkwhy

  // init_actuator_handler(&MagneTorquer2,&htim3,TIM_CHANNEL_3,TIM_CHANNEL_4,10000,50); //also this
  // init_actuator_handler(&MagneTorquer3,&htim2,TIM_CHANNEL_1,TIM_CHANNEL_2,94000,50); //94 khz // this measured 100khz, idkwhy
  //12332
  //Inizialize PID struct
  PID_INIT(&PID_Inputs);
  int test_counter=0;

	/* Infinite loop */
	for(;;)
	{

    printf("i am alive\r\n");
    // if (test_counter == 0) {
    //   // actuator_START(coils[0]);
    //   printf("Starting delay\r\n");
    //   // osDelay(2000);
    //   //
    //   // vTaskDelay(pdMS_TO_TICKS(10000));
    //   printf("delay ended\r\n");
    //   // actuator_STOP(coils[0]);
    //   // active[0] = 0;
    //   test_counter++;
    // }

		printf("We are in Control Algorithm TASK \r\n");
		#if ( DEBUG_MSGS_CONTROL == 1 )
			//printf("We are in Control Algorithm TASK \r\n");
		#endif
		// printf("I am alive from Control_Algorithm_Task at %lu ms\r\n", HAL_GetTick());
			//Receive Telemetry IMU via Queue

			// retvalue1 = osMessageGet(setAttitudeADCSQueueHandle,200);
			// processCombinedData((void*)&retvalue1,(void *)&PID_Inputs,receive_Attitudequeue_control);
		// the reason why i commented the above is that there is no task sending to that queue therefore its technically useless
      // #if ( DEBUG_MSGS_CONTROL == 1 )
			  // printf("IMUQueue1Handle: %p\r\n", IMUQueue1Handle);
		  // #endif
			retvalue = osMessageGet(IMUQueue1Handle, 300);
			processCombinedData((void*)&retvalue,(void *)&local_imu_struct1,receive_IMUqueue_control);

		//algorithm
		#if( DEBUG_MSGS_CONTROL )
		printf("\r\n\r\n");
		#endif

		for (int i = 0; i < 3; i++)
		{
		gyro[i] = local_imu_struct1->gyro_msr[i];
		mag[i] = local_imu_struct1->mag_msr[i];
		acc[i] = local_imu_struct1->acc_msr[i];
		#if ( DEBUG_MSGS_CONTROL == 1 )
			printf("\r\n ====  IMU VALUES ==== \r\n");
			printf("Accelerometer axis %d, value %f \r\n", i, acc[i]);
			printf("Gyroscope axis %d, value %f \r\n", i, gyro[i]);
			printf("Magnetometer axis %d, value %f \r\n", i, mag[i]);
		#endif
		}

    // ALGORITHM
		compute_mcon(mag, gyro, k, m_con);  // Compute angular momentum
		compute_duty_cycle(m_con, coil_turn, coil_area, re_coil, VDD_coil, duty_cycle, direction);

		for (int i = 0; i < 3; i++)
		{
		#if ( DEBUG_MSGS_CONTROL == 1 )
			printf("\r\n====  COMPUTED VALUES ====\r\n");
			printf("duty cycle %f, direction %d \r\n", duty_cycle[i], direction[i]);
			printf("Magnetic Dipole Moment axis %d, value %f \r\n", i, m_con[i]);
			// printf("Duty Cycle axis %d, value %f \r\n", i, duty_cycle[i]);
			// printf("Direction axis %d, value %d \r\n", i, direction[i]);

		#endif
		}

		// not required anymore
    count++;

		for (int i = 0; i < 3; i++) {
      // clamp and optional lower threshold during bring-up
        if (duty_cycle[i] < 0.0f) duty_cycle[i] = 0.0f;
        if (duty_cycle[i] > 100.0f) duty_cycle[i] = 100.0f;

      // 	update_duty_dir(coils[i], duty_cycle[i], direction[i]);  // first update the duty cycle
        if (duty_cycle[i] > 20.0f) {
          if (!active[i]) {
            #if ( DEBUG_MSGS_CONTROL )
              printf("Coil %d started with direction %d\r\n", i, direction[i]);
            #endif
            // update the i-th duty cycle and dir based on BDOT output
          // actuator_START(coils[i]);              // start once per axis
          active[i] = 1;
          printf("Coil %d started with direction %d\r\n", i, direction[i]);
        }
        update_duty_dir(coils[i], duty_cycle[i], direction[i]);
        } else {
          if (active[i]) {
            #if ( DEBUG_MSGS_CONTROL )
              printf("Coil %d stopped\r\n", i);
            #endif
            // Stop it
            // actuator_STOP(coils[i]);
            printf("Coil %d stopped\r\n", i);
            active[i] = 0;
          }
        }

        // just for debugging
        //actuator_START(coils[0]);
		 }

			//X Magnetorquer
			//Change dir :
			//update_duty_dir(&MagneTorquer1,PID_Inputs.th_Dutycycle[0],1);
			//No change dir:
			//update_duty_dir(&MagneTorquer1,PID_Inputs.th_Dutycycle[0],0);
			//Y Magnetorquer
			//Change dir :
			//update_duty_dir(&MagneTorquer1,PID_Inputs.th_Dutycycle[1],1);
			//No change dir:
			//update_duty_dir(&MagneTorquer1,PID_Inputs.th_Dutycycle[1],0);
			//Z Magnetorquer
			//Change dir :
			//update_duty_dir(&MagneTorquer1,PID_Inputs.th_Dutycycle[2],1);
			//No change dir:
			//update_duty_dir(&MagneTorquer1,PID_Inputs.th_Dutycycle[2],0);

		if (count >= 5){
		if (xSemaphoreTake(IMURead_ControlMutex, (TickType_t)10) == pdTRUE) //If control don't read IMU
		{
			// printf("Control Task : Taken IMURead_ControlMutex control \r\n");
			//Spegnere i magnetorquer
			xSemaphoreGive(IMURead_ControlMutex);
		//   printf("Control Task : Released IMURead_ControlMutex control \r\n");
		}
		}
		free(local_imu_struct1);   // TODO must be checked
		osDelay(2000);
	}
	/* USER CODE END Control_Algorithm_Task */
}

void Check_current_temp(void const * argument)
{
  /* USER CODE BEGIN Check_current_temp */
//declaring serial line
	//static serial_line_handle line;
	//Inizialize Serial Line for UART3
	//sdlInitLine(&line,&txFunc3,&rxFunc3,50,2);
	// init_tempsens_handler(&ntc_values);
	volatile float currentbuf[NUM_ACTUATORS],voltagebuf[NUM_ACTUATORS];
	Current_Temp_Struct *local_current_temp_struct = (Current_Temp_Struct*) malloc(sizeof(Current_Temp_Struct));
	static uint8_t count = 0;

	/*Start calibration */
	if (HAL_ADCEx_Calibration_Start(&hadc1, ADC_SINGLE_ENDED) !=  HAL_OK)
	{
	#if ( DEBUG_MSGS == 1 )
		printf("Error with ADC: not calibrated correctly \r\n");
	#endif
	}

	/* Infinite loop */
	for(;;)
	{
		//volatile float prev = HAL_GetTick();
		//printf("We are in CHECK TASK \r\n");
		#if ( DEBUG_MSGS == 1 )
			//printf("We are in CHECK TASK \r\n");
		#endif
		//----------------------------------------------------------------------

		//GET TEMPERATURES------------------------------------------------------
		//float prev1 = HAL_GetTick();
		// get_temperatures(&hspi2,&ntc_values,count);
		//float next1 = HAL_GetTick();
		//printf("Execussion of get_temperatures: %.1f ms\n",next1-prev1);
		count ++;
		//----------------------------------------------------------------------

		//GET ACTUATORS CURRENT
		get_actuator_current(&hadc1,voltagebuf,currentbuf,Channels_mask);
		for(int i=0;i<NUM_DRIVERS;i++)
		{
			//printf("Actuator %d current value: %f \r\n",i,currentbuf[i]);
		}
		//----------------------------------------------------------------------

		//CHECK IF THEY ARE OK
		for(int i=0;i<NUM_ACTUATORS;i++)
		{
			if(i>=0 && i<2)
			{
				//Check Reaction Wheels currents
				if(currentbuf[i] > 1.0f) //> 1A
				{
					// printf("MAgnetorquer %d current value: %f is above threshold!!!! \r\n",i,currentbuf[i]);
					error_status = 5;
				}
			}
			else{
				//Check MagneTorquers currents
				if(currentbuf[i] > 0.05f) // >50mA
				{
					// printf("Magnetorquer %d current value: %f is above threshold!!!! \r\n",i,currentbuf[i]);
					error_status = 4;
				}
			}
		}

		// for(int i=0;i<NUM_TEMP_SENS;i++)
		// {
		// 	if(ntc_values.temp[i]>50) //>50 gradi
		// 	{
		// 		printf("Temp %d value: %f is above threshold!!!! ",i,ntc_values.temp[i]);
		// 		error_status = 3;
		// 	}

		// }

		switch(error_status)
		{
			case 0:
				//ALL IS OK
				//Send Housekeeping to OBC task

				if (local_current_temp_struct == NULL) {
					#if ( DEBUG_MSGS == 1 )
						printf("IMU TASK: allocazione struttura fallita !\n");
					#endif
				}
				else
				{
					if(count == 8)
					{
						for(int i=0;i<NUM_ACTUATORS;i++)
						{
							local_current_temp_struct->current[i] = currentbuf[i];
							#if ( DEBUG_MSGS == 1 )
								printf("Task check: Current n%d,value: %f,current vect:%f \r\n",i+1,local_current_temp_struct->current[i],currentbuf[i]);
							#endif
			    			// 	}
							// for(int i=NUM_ACTUATORS;i<NUM_TEMP_SENS+NUM_ACTUATORS;i++)
							// {
							// 	local_current_temp_struct->temperature[i - NUM_ACTUATORS] = ntc_values.temp[i - NUM_ACTUATORS];
							#if ( DEBUG_MSGS == 1 )
								// printf("Task check: Temperature n%d,ntc value: %f,value: %f \r\n",i-4,ntc_values.temp[i-NUM_ACTUATORS],local_current_temp_struct->temperature[i-NUM_ACTUATORS]);
							#endif
						}

						//Invio queue a OBC Task
						if (osMessagePut(ADCSHouseKeepingQueueHandle,(uint32_t)local_current_temp_struct,300) != osOK) {
							#if ( DEBUG_MSGS == 1 )
								printf("Invio a OBC Task fallito \r\n");
							#endif
			       			free(local_current_temp_struct); // Ensure the receiving task has time to process
						} else {
							#if ( DEBUG_MSGS == 1 )
								printf("Dati Inviati a OBC Task\n");
							#endif
						}
						count = 0;
					}
				}
				break;
			case 1:
				break;
			case 2:
				break;
			case 3:
				//PROBLEM WITH TEMPERATURE SENSORS
				// Trigger an interrupt
				break;
			case 4:
				//PROBLEM WITH MAGNETORQUERS
				// Trigger an interrupt
				break;
			case 5:
				//PROBLEM WITH REACTION WHEELS
				// Trigger an interrupt
				break;

		}
		//volatile next = HAL_GetTick();
		//printf("Execussion of check task: %.1f ms\n",next-prev);
	    osDelay(2000);
	  }
  /* USER CODE END Check_current_temp */
}

void HAL_TIM_PeriodElapsedCallback(TIM_HandleTypeDef *htim)
{
  if (htim->Instance == TIM16)
  {
    HAL_IncTick();
  }
}

void Error_Handler(void)
{
  __disable_irq();
  while (1)
  {
  }
}

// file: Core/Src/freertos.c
/* USER CODE BEGIN Header */
/**
  ******************************************************************************
  * File Name          : freertos.c
  * Description        : Code for freertos applications
  ******************************************************************************
  * @attention
  *
  * Copyright (c) 2025 STMicroelectronics.
  * All rights reserved.
  *
  * This software is licensed under terms that can be found in the LICENSE file
  * in the root directory of this software component.
  * If no LICENSE file comes with this software, it is provided AS-IS.
  *
  ******************************************************************************
  */
/* USER CODE END Header */

#include "freertos.h"
#include "task.h"
#include "main.h"

/* USER CODE BEGIN PD */
/* Defining Task related variables */
osThreadId IMUTaskHandle;
uint32_t IMUTaskBuffer[stack_size];
// 4096 osStaticThreadDef_t IMUTaskControlBlock;
osThreadId OBC_CommTaskHandle;
uint32_t OBC_CommTaskBuffer[stack_size1];
// 16384 osStaticThreadDef_t OBC_CommTaskControlBlock;
osThreadId ControlAlgorithmTaskHandle;
uint32_t ControlAlgorithmTaskBuffer[stack_size];
// 4096 osStaticThreadDef_t ControlAlgorithmTaskControlBlock;
osThreadId FirstCheckTaskHandle;
uint32_t FirstCheckTaskBuffer[stack_size];
// 4096 osStaticThreadDef_t FirstCheckTaskControlBlock;
xSemaphoreHandle IMURead_ControlMutex;
StaticSemaphore_t xIMURead_ControlMutexBuffer;
osMessageQId ADCSHouseKeepingQueueHandle;
uint8_t ADCSHouseKeepingQueueBuffer[256 * sizeof(float)];
osStaticMessageQDef_t ADCSHouseKeepingQueueControlBlock;
osMessageQId IMUQueue2Handle;
uint8_t IMUQueue2Buffer[256 * sizeof(imu_queue_struct)];
osStaticMessageQDef_t IMUQueue2ControlBlock;
osMessageQId IMUQueue1Handle;
uint8_t IMUQueue1Buffer[256 * sizeof(imu_queue_struct)];
osStaticMessageQDef_t IMUQueue1ControlBlock;
/* USER CODE END PD */

/* USER CODE BEGIN FunctionPrototypes */
void MX_FREERTOS_Init(void);
/* USER CODE END FunctionPrototypes */

/* GetIdleTaskMemory prototype (linked to static allocation support) */
void vApplicationGetIdleTaskMemory( StaticTask_t **ppxIdleTaskTCBBuffer, StackType_t **ppxIdleTaskStackBuffer, uint32_t *pulIdleTaskStackSize );

/* USER CODE BEGIN GET_IDLE_TASK_MEMORY */
static StaticTask_t xIdleTaskTCBBuffer;
static StackType_t xIdleStack[configMINIMAL_STACK_SIZE];

void vApplicationGetIdleTaskMemory( StaticTask_t **ppxIdleTaskTCBBuffer, StackType_t **ppxIdleTaskStackBuffer, uint32_t *pulIdleTaskStackSize )
{
  *ppxIdleTaskTCBBuffer = &xIdleTaskTCBBuffer;
  *ppxIdleTaskStackBuffer = &xIdleStack[0];
  *pulIdleTaskStackSize = configMINIMAL_STACK_SIZE;
  /* place for user code */
}
/* USER CODE END GET_IDLE_TASK_MEMORY */

/* USER CODE BEGIN Application */

/* Function to initialize FreeRTOS */
void MX_FREERTOS_Init(void)
{
  /* Create Mutex and Semaphore */
  IMURead_ControlMutex = xSemaphoreCreateMutexStatic(&xIMURead_ControlMutexBuffer);
  configASSERT(IMURead_ControlMutex);
  xSemaphoreGive(IMURead_ControlMutex);

  /* Create RTOS QUEUES: IMU1, IMU2 and housekeeping */
  osMessageQStaticDef (IMUQueue1, 512, uint32_t, IMUQueue1Buffer, &IMUQueue1ControlBlock);
  osMessageQStaticDef (IMUQueue2, 512, uint32_t, IMUQueue2Buffer, &IMUQueue2ControlBlock);
  osMessageQStaticDef (ADCSHouseKeepingQueue, 512, uint32_t, ADCSHouseKeepingQueueBuffer, &ADCSHouseKeepingQueueControlBlock);
  IMUQueue1Handle             = osMessageCreate(osMessageQ(IMUQueue1), NULL);
  IMUQueue2Handle             = osMessageCreate(osMessageQ(IMUQueue2), NULL);
  ADCSHouseKeepingQueueHandle = osMessageCreate(osMessageQ(ADCSHouseKeepingQueue), NULL);

  /* Create RTOS threads: FirstCheckTask, IMUTask, OBC_CommTask, ControlAlgorithmTask */
  osThreadStaticDef (FirstCheckTask, Check_current_temp, osPriorityAboveNormal, 0, stack_size, FirstCheckTaskBuffer, &FirstCheckTaskControlBlock);
  osThreadStaticDef (IMUTask, IMU_Task, osPriorityNormal, 0, stack_size, IMUTaskBuffer, &IMUTaskControlBlock);
  osThreadStaticDef (OBC_CommTask, OBC_Comm_Task, osPriorityAboveNormal, 0, stack_size1, OBC_CommTaskBuffer, &OBC_CommTaskControlBlock);
  osThreadStaticDef (ControlAlgorithmTask, Control_Algorithm_Task, osPriorityNormal, 0, stack_size, ControlAlgorithmTaskBuffer, &ControlAlgorithmTaskControlBlock);
  FirstCheckTaskHandle        = osThreadCreate(osThread(FirstCheckTask), NULL);
  IMUTaskHandle               = osThreadCreate(osThread(IMUTask), NULL);
  OBC_CommTaskHandle          = osThreadCreate(osThread(OBC_CommTask), NULL);
  ControlAlgorithmTaskHandle  = osThreadCreate(osThread(ControlAlgorithmTask), NULL);
}

/* USER CODE END Application */
